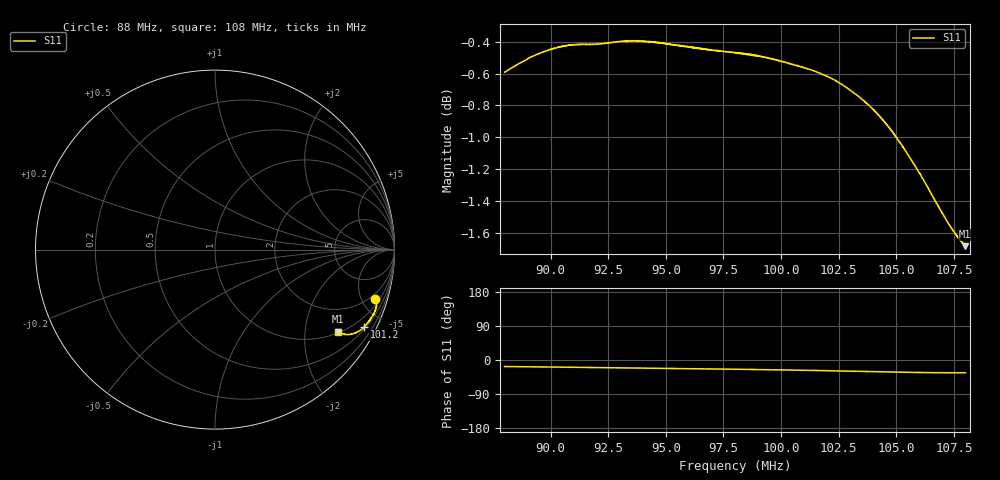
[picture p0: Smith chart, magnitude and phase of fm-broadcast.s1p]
! Calibrated averaged scanner-service zoom
# Hz S RI R 50
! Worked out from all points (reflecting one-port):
!   2001 points, 88 MHz to 108 MHz, reference 50 ohm
!   lowest |S11| = -1.7 dB at 108 MHz (marker M1), VSWR 10.34, Z = 52.3 - j148 ohm
!   phase of S11 starts at -17 deg and turns -16 deg over the sweep
!   S11 on the Smith chart (normalised r, x): 88 MHz: 1.44, -6.28; 101.2 MHz: 0.58, -4.03; 108 MHz: 1.05, -2.97
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8.8e7  0.8924 -0.2765
8.919e7  0.8992 -0.291
8.986e7  0.9006 -0.2999
9.05e7  0.9006 -0.3087
9.135e7  0.898 -0.3198
9.183e7  0.8962 -0.3247
9.24e7  0.8952 -0.3303
9.3e7  0.8937 -0.3375
9.389e7  0.8899 -0.3484
9.436e7  0.8868 -0.3544
9.55e7  0.8794 -0.3665
9.699e7  0.8697 -0.3806
9.8e7  0.8628 -0.3917
9.909e7  0.8542 -0.4043
1.005e8  0.8398 -0.4212
1.012e8  0.8317 -0.4301
1.0211e8  0.8189 -0.4422
1.03e8  0.803 -0.4535
1.0378e8  0.7868 -0.4622
1.0443e8  0.7714 -0.4685
1.049e8  0.7589 -0.4716
1.055e8  0.7421 -0.4734
1.0614e8  0.7246 -0.4729
1.0661e8  0.712 -0.4698
1.0709e8  0.7002 -0.4662
1.0756e8  0.6915 -0.4608
1.0798e8  0.6854 -0.4567
1.08e8  0.6854 -0.4566
